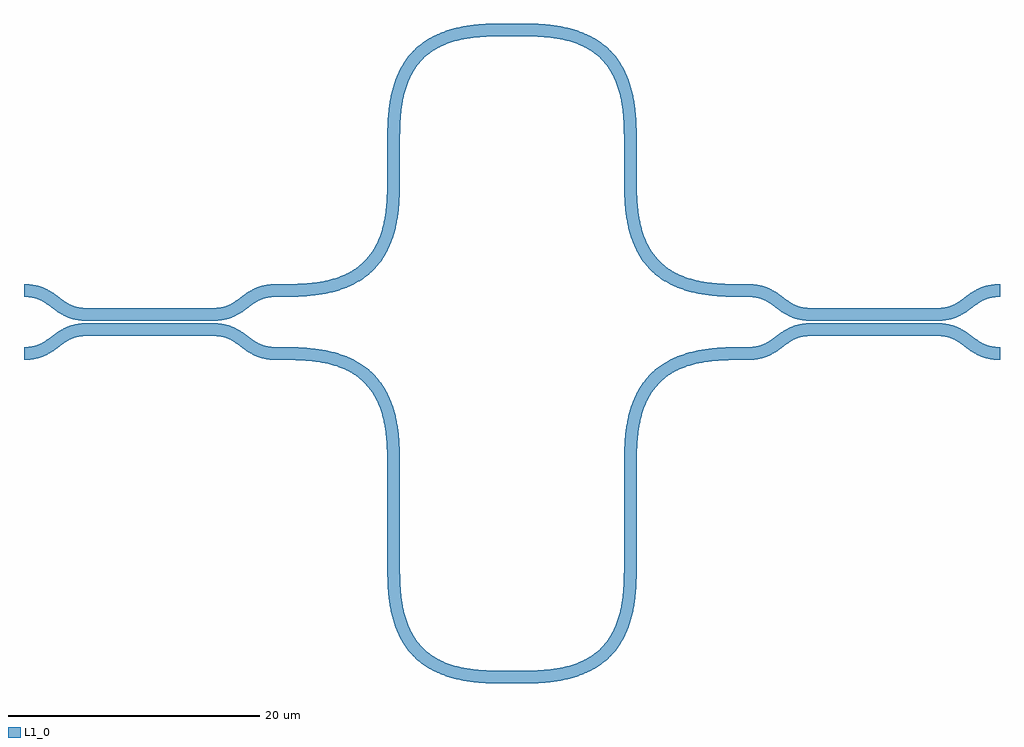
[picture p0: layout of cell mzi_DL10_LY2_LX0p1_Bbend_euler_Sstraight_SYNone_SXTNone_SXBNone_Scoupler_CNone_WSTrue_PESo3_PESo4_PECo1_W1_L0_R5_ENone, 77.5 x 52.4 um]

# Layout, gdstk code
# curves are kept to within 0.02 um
from math import pi, radians
import gdstk
lib = gdstk.Library(unit=1e-6, precision=1e-09)
def R(c, l, rs):  # rectangles x0, y0, x1, y1
    for r in rs: c.add(gdstk.rectangle(r[:2], r[2:], *l))
def P(c, l, *ps):  # polygons
    for p in ps: c.add(gdstk.Polygon(p, *l))
L1_0 = (1, 0)

bend_s_w1_h1p9_l5_l0_np9 = lib.new_cell('bend_s_W1_H1p9_L5_L0_NP99_TS0_TS1_E8a9ff7cf')
P(bend_s_w1_h1p9_l5_l0_np9, L1_0, [(0,-0.5),(0,0.5),(0.713,0.568),(1.297,0.761),(1.826,1.073),(2.826,1.796),(3.226,2.02),(3.568,2.165),(4.223,2.338),(5,2.4),(5,1.4),(4.287,1.332),(3.703,1.139),(3.174,0.827),(2.174,0.104),(1.774,-0.12),(1.432,-0.265),(0.777,-0.438)],
  [(0,-0.5),(0,0.5),(0.713,0.568),(1.297,0.761),(1.826,1.073),(2.826,1.796),(3.226,2.02),(3.568,2.165),(4.223,2.338),(5,2.4),(5,1.4),(4.287,1.332),(3.703,1.139),(3.174,0.827),(2.174,0.104),(1.774,-0.12),(1.432,-0.265),(0.777,-0.438)])

straight_w1000_l10000_l0 = lib.new_cell('straight_W1000_L10000_L0_E8a9ff7cf')
R(straight_w1000_l10000_l0, L1_0, [(0,-0.5,10,0.5)])

straight_coupler_g0p2_l1 = lib.new_cell('straight_coupler_G0p2_L10_W1_L0_E8a9ff7cf')
straight_coupler_g0p2_l1.add(gdstk.Reference(straight_w1000_l10000_l0, (0,0.6), x_reflection=True))
straight_coupler_g0p2_l1.add(gdstk.Reference(straight_w1000_l10000_l0, (0,-0.6)))

coupler_g0p2_l10_d5_d5_w = lib.new_cell('coupler_G0p2_L10_D5_D5_W1_L0_ENone')
coupler_g0p2_l10_d5_d5_w.add(gdstk.Reference(bend_s_w1_h1p9_l5_l0_np9, (-5,2.5), x_reflection=True))
coupler_g0p2_l10_d5_d5_w.add(gdstk.Reference(bend_s_w1_h1p9_l5_l0_np9, (-5,-2.5)))
coupler_g0p2_l10_d5_d5_w.add(gdstk.Reference(straight_coupler_g0p2_l1, (0,0)))
coupler_g0p2_l10_d5_d5_w.add(gdstk.Reference(bend_s_w1_h1p9_l5_l0_np9, (10,-0.6), x_reflection=True))
coupler_g0p2_l10_d5_d5_w.add(gdstk.Reference(bend_s_w1_h1p9_l5_l0_np9, (10,0.6)))

bend_euler_w1_r5_l0_enon = lib.new_cell('bend_euler_W1_R5_L0_ENone_A90_R150')
P(bend_euler_w1_r5_l0_enon, L1_0, [(0,-0.5),(0,0.5),(1.463,0.513),(2.378,0.558),(3.405,0.674),(4.279,0.852),(5.119,1.118),(5.798,1.425),(6.426,1.812),(6.987,2.278),(7.467,2.825),(7.866,3.443),(8.233,4.232),(8.499,5.071),(8.656,5.819),(8.782,6.843),(8.837,7.888),(8.85,9.35),(9.85,9.35),(9.837,7.86),(9.766,6.622),(9.642,5.652),(9.431,4.687),(9.113,3.739),(8.741,2.958),(8.266,2.224),(7.789,1.666),(7.126,1.085),(6.393,0.61),(5.611,0.237),(4.664,-0.081),(3.837,-0.267),(2.729,-0.416),(1.627,-0.482)])

straight_w1000_l7000_l0_ = lib.new_cell('straight_W1000_L7000_L0_ENone')
R(straight_w1000_l7000_l0_, L1_0, [(0,-0.5,7,0.5)])

straight_w1000_l100_l0_e = lib.new_cell('straight_W1000_L100_L0_ENone')
R(straight_w1000_l100_l0_e, L1_0, [(0,-0.5,0.1,0.5)])

straight_w1000_l2000_l0_ = lib.new_cell('straight_W1000_L2000_L0_ENone')
R(straight_w1000_l2000_l0_, L1_0, [(0,-0.5,2,0.5)])

mzi_dl10_ly2_lx0p1_bbend = lib.new_cell('mzi_DL10_LY2_LX0p1_Bbend_euler_Sstraight_SYNone_SXTNone_SXBNone_Scoupler_CNone_WSTrue_PESo3_PESo4_PECo1_W1_L0_R5_ENone')
mzi_dl10_ly2_lx0p1_bbend.add(gdstk.Reference(coupler_g0p2_l10_d5_d5_w, (0,0)))
mzi_dl10_ly2_lx0p1_bbend.add(gdstk.Reference(coupler_g0p2_l10_d5_d5_w, (57.5,0)))
mzi_dl10_ly2_lx0p1_bbend.add(gdstk.Reference(bend_euler_w1_r5_l0_enon, (15,-2.5), x_reflection=True))
mzi_dl10_ly2_lx0p1_bbend.add(gdstk.Reference(straight_w1000_l7000_l0_, (24.35,-11.85), rotation=3*pi/2, x_reflection=True))
mzi_dl10_ly2_lx0p1_bbend.add(gdstk.Reference(bend_euler_w1_r5_l0_enon, (24.35,-18.85), rotation=3*pi/2))
mzi_dl10_ly2_lx0p1_bbend.add(gdstk.Reference(straight_w1000_l100_l0_e, (33.7,-28.2)))
mzi_dl10_ly2_lx0p1_bbend.add(gdstk.Reference(bend_euler_w1_r5_l0_enon, (15,2.5)))
mzi_dl10_ly2_lx0p1_bbend.add(gdstk.Reference(straight_w1000_l2000_l0_, (24.35,11.85), rotation=pi/2))
mzi_dl10_ly2_lx0p1_bbend.add(gdstk.Reference(bend_euler_w1_r5_l0_enon, (33.7,23.2), rotation=pi))
mzi_dl10_ly2_lx0p1_bbend.add(gdstk.Reference(straight_w1000_l100_l0_e, (33.7,23.2)))
mzi_dl10_ly2_lx0p1_bbend.add(gdstk.Reference(bend_euler_w1_r5_l0_enon, (43.15,11.85), rotation=3*pi/2))
mzi_dl10_ly2_lx0p1_bbend.add(gdstk.Reference(bend_euler_w1_r5_l0_enon, (33.8,23.2), x_reflection=True))
mzi_dl10_ly2_lx0p1_bbend.add(gdstk.Reference(straight_w1000_l2000_l0_, (43.15,13.85), rotation=3*pi/2, x_reflection=True))
mzi_dl10_ly2_lx0p1_bbend.add(gdstk.Reference(bend_euler_w1_r5_l0_enon, (43.15,-11.85), rotation=pi/2, x_reflection=True))
mzi_dl10_ly2_lx0p1_bbend.add(gdstk.Reference(bend_euler_w1_r5_l0_enon, (33.8,-28.2)))
mzi_dl10_ly2_lx0p1_bbend.add(gdstk.Reference(straight_w1000_l7000_l0_, (43.15,-18.85), rotation=pi/2))

lib.write_gds('mzi_DL10_LY2_LX0p1_Bbend_euler_Sstraight_SYNone_SXTNone_SXBNone_Scoupler_CNone_WSTrue_PESo3_PESo4_PECo1_W1_L0_R5_ENone.gds')
